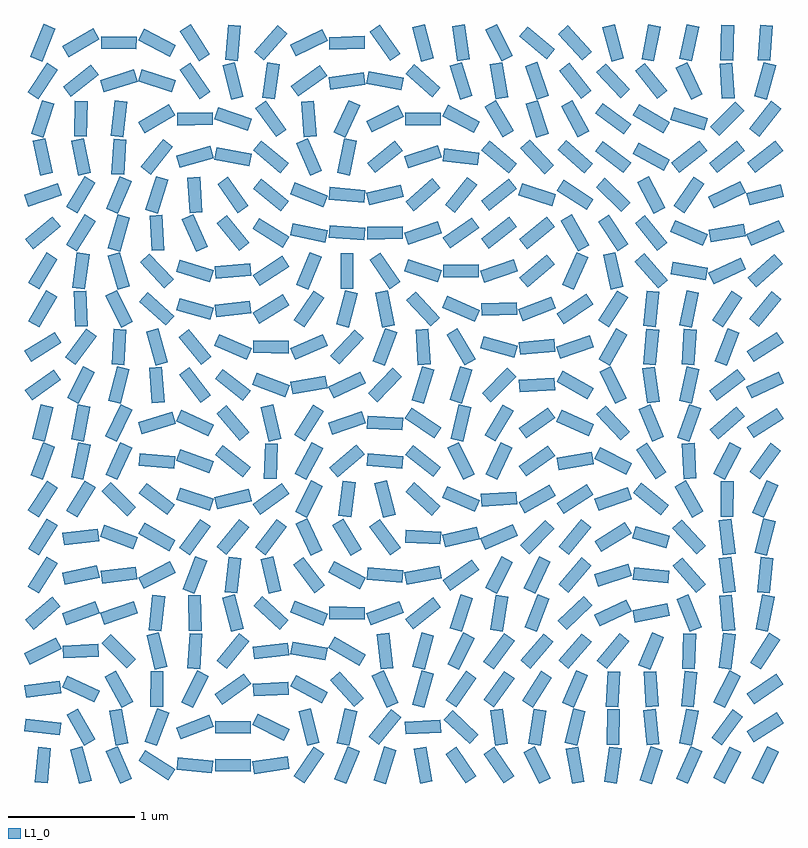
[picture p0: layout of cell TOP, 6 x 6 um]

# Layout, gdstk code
from math import pi, radians
import gdstk
lib = gdstk.Library(unit=1e-6, precision=1e-10)
def R(c, l, rs):  # rectangles x0, y0, x1, y1
    for r in rs: c.add(gdstk.rectangle(r[:2], r[2:], *l))
L1_0 = (1, 0)

atom = lib.new_cell('Atom')
R(atom, L1_0, [(-0.14,-0.05,0.14,0.05)])

top = lib.new_cell('TOP')
top.add(gdstk.Reference(atom, (0.15,0.15), rotation=radians(72.9007)))
top.add(gdstk.Reference(atom, (0.45,0.15), rotation=radians(72.4664)))
top.add(gdstk.Reference(atom, (0.75,0.15), rotation=radians(44.9532)))
top.add(gdstk.Reference(atom, (1.05,0.15), rotation=radians(3.5233)))
top.add(gdstk.Reference(atom, (1.35,0.15), rotation=radians(330.0113)))
top.add(gdstk.Reference(atom, (1.65,0.15), rotation=radians(296.1624)))
top.add(gdstk.Reference(atom, (1.95,0.15), rotation=radians(278.1701)))
top.add(gdstk.Reference(atom, (2.25,0.15), rotation=radians(77.5166)))
top.add(gdstk.Reference(atom, (2.55,0.15), rotation=radians(37.4882)))
top.add(gdstk.Reference(atom, (2.85,0.15), rotation=radians(24.3716)))
top.add(gdstk.Reference(atom, (0.15,0.45), rotation=radians(273.8419)))
top.add(gdstk.Reference(atom, (0.45,0.45), rotation=radians(300.5138)))
top.add(gdstk.Reference(atom, (0.75,0.45), rotation=radians(344.3116)))
top.add(gdstk.Reference(atom, (1.05,0.45), rotation=radians(5.4533)))
top.add(gdstk.Reference(atom, (1.35,0.45), rotation=radians(18.6406)))
top.add(gdstk.Reference(atom, (1.65,0.45), rotation=radians(60.0461)))
top.add(gdstk.Reference(atom, (1.95,0.45), rotation=radians(84.8528)))
top.add(gdstk.Reference(atom, (2.25,0.45), rotation=radians(86.43)))
top.add(gdstk.Reference(atom, (2.55,0.45), rotation=radians(69.1416)))
top.add(gdstk.Reference(atom, (2.85,0.45), rotation=radians(32.5081)))
top.add(gdstk.Reference(atom, (0.15,0.75), rotation=radians(313.0803)))
top.add(gdstk.Reference(atom, (0.45,0.75), rotation=radians(336.1501)))
top.add(gdstk.Reference(atom, (0.75,0.75), rotation=radians(1.8059)))
top.add(gdstk.Reference(atom, (1.05,0.75), rotation=radians(21.232)))
top.add(gdstk.Reference(atom, (1.35,0.75), rotation=radians(33.9489)))
top.add(gdstk.Reference(atom, (1.65,0.75), rotation=radians(57.309)))
top.add(gdstk.Reference(atom, (1.95,0.75), rotation=radians(84.4615)))
top.add(gdstk.Reference(atom, (2.25,0.75), rotation=radians(78.2265)))
top.add(gdstk.Reference(atom, (2.55,0.75), rotation=radians(56.8476)))
top.add(gdstk.Reference(atom, (2.85,0.75), rotation=radians(50.6504)))
top.add(gdstk.Reference(atom, (0.15,1.05), rotation=radians(341.9101)))
top.add(gdstk.Reference(atom, (0.45,1.05), rotation=radians(0.5162)))
top.add(gdstk.Reference(atom, (0.75,1.05), rotation=radians(19.0907)))
top.add(gdstk.Reference(atom, (1.05,1.05), rotation=radians(40.2758)))
top.add(gdstk.Reference(atom, (1.35,1.05), rotation=radians(65.995)))
top.add(gdstk.Reference(atom, (1.65,1.05), rotation=radians(282.4512)))
top.add(gdstk.Reference(atom, (1.95,1.05), rotation=radians(311.531)))
top.add(gdstk.Reference(atom, (2.25,1.05), rotation=radians(350.3575)))
top.add(gdstk.Reference(atom, (2.55,1.05), rotation=radians(24.9508)))
top.add(gdstk.Reference(atom, (2.85,1.05), rotation=radians(41.5816)))
top.add(gdstk.Reference(atom, (0.15,1.35), rotation=radians(19.3423)))
top.add(gdstk.Reference(atom, (0.45,1.35), rotation=radians(34.9826)))
top.add(gdstk.Reference(atom, (0.75,1.35), rotation=radians(38.0122)))
top.add(gdstk.Reference(atom, (1.05,1.35), rotation=radians(39.1704)))
top.add(gdstk.Reference(atom, (1.35,1.35), rotation=radians(299.4528)))
top.add(gdstk.Reference(atom, (1.65,1.35), rotation=radians(303.4985)))
top.add(gdstk.Reference(atom, (1.95,1.35), rotation=radians(308.9907)))
top.add(gdstk.Reference(atom, (2.25,1.35), rotation=radians(336.5651)))
top.add(gdstk.Reference(atom, (2.55,1.35), rotation=radians(9.9128)))
top.add(gdstk.Reference(atom, (2.85,1.35), rotation=radians(23.454)))
top.add(gdstk.Reference(atom, (0.15,1.65), rotation=radians(41.7021)))
top.add(gdstk.Reference(atom, (0.45,1.65), rotation=radians(51.4742)))
top.add(gdstk.Reference(atom, (0.75,1.65), rotation=radians(38.5689)))
top.add(gdstk.Reference(atom, (1.05,1.65), rotation=radians(342.0942)))
top.add(gdstk.Reference(atom, (1.35,1.65), rotation=radians(327.2701)))
top.add(gdstk.Reference(atom, (1.65,1.65), rotation=radians(315.6514)))
top.add(gdstk.Reference(atom, (1.95,1.65), rotation=radians(297.6931)))
top.add(gdstk.Reference(atom, (2.25,1.65), rotation=radians(55.7708)))
top.add(gdstk.Reference(atom, (2.55,1.65), rotation=radians(25.6771)))
top.add(gdstk.Reference(atom, (2.85,1.65), rotation=radians(14.4317)))
top.add(gdstk.Reference(atom, (0.15,1.95), rotation=radians(18.1711)))
top.add(gdstk.Reference(atom, (0.45,1.95), rotation=radians(353.0641)))
top.add(gdstk.Reference(atom, (0.75,1.95), rotation=radians(319.7183)))
top.add(gdstk.Reference(atom, (1.05,1.95), rotation=radians(313.2933)))
top.add(gdstk.Reference(atom, (1.35,1.95), rotation=radians(318.198)))
top.add(gdstk.Reference(atom, (1.65,1.95), rotation=radians(322.8595)))
top.add(gdstk.Reference(atom, (1.95,1.95), rotation=radians(331.1552)))
top.add(gdstk.Reference(atom, (2.25,1.95), rotation=radians(38.2216)))
top.add(gdstk.Reference(atom, (2.55,1.95), rotation=radians(39.1186)))
top.add(gdstk.Reference(atom, (2.85,1.95), rotation=radians(38.3245)))
top.add(gdstk.Reference(atom, (0.15,2.25), rotation=radians(359.8057)))
top.add(gdstk.Reference(atom, (0.45,2.25), rotation=radians(332.0322)))
top.add(gdstk.Reference(atom, (0.75,2.25), rotation=radians(300.3694)))
top.add(gdstk.Reference(atom, (1.05,2.25), rotation=radians(287.8215)))
top.add(gdstk.Reference(atom, (1.35,2.25), rotation=radians(298.2961)))
top.add(gdstk.Reference(atom, (1.65,2.25), rotation=radians(323.5479)))
top.add(gdstk.Reference(atom, (1.95,2.25), rotation=radians(329.4307)))
top.add(gdstk.Reference(atom, (2.25,2.25), rotation=radians(342.4433)))
top.add(gdstk.Reference(atom, (2.55,2.25), rotation=radians(44.8382)))
top.add(gdstk.Reference(atom, (2.85,2.25), rotation=radians(51.9568)))
top.add(gdstk.Reference(atom, (0.15,2.55), rotation=radians(318.2351)))
top.add(gdstk.Reference(atom, (0.45,2.55), rotation=radians(287.7106)))
top.add(gdstk.Reference(atom, (0.75,2.55), rotation=radians(279.6267)))
top.add(gdstk.Reference(atom, (1.05,2.55), rotation=radians(288.5452)))
top.add(gdstk.Reference(atom, (1.35,2.55), rotation=radians(308.0928)))
top.add(gdstk.Reference(atom, (1.65,2.55), rotation=radians(313.0303)))
top.add(gdstk.Reference(atom, (1.95,2.55), rotation=radians(308.8149)))
top.add(gdstk.Reference(atom, (2.25,2.55), rotation=radians(295.3078)))
top.add(gdstk.Reference(atom, (2.55,2.55), rotation=radians(273.56)))
top.add(gdstk.Reference(atom, (2.85,2.55), rotation=radians(74.3906)))
top.add(gdstk.Reference(atom, (0.15,2.85), rotation=radians(284.3412)))
top.add(gdstk.Reference(atom, (0.45,2.85), rotation=radians(278.7075)))
top.add(gdstk.Reference(atom, (0.75,2.85), rotation=radians(297.41)))
top.add(gdstk.Reference(atom, (1.05,2.85), rotation=radians(319.7779)))
top.add(gdstk.Reference(atom, (1.35,2.85), rotation=radians(312.6755)))
top.add(gdstk.Reference(atom, (1.65,2.85), rotation=radians(285.2547)))
top.add(gdstk.Reference(atom, (1.95,2.85), rotation=radians(78.8989)))
top.add(gdstk.Reference(atom, (2.25,2.85), rotation=radians(78.1317)))
top.add(gdstk.Reference(atom, (2.55,2.85), rotation=radians(88.4257)))
top.add(gdstk.Reference(atom, (2.85,2.85), rotation=radians(86.2554)))
top.add(gdstk.Reference(atom, (-2.85,1.65), rotation=radians(19.0705)))
top.add(gdstk.Reference(atom, (-2.55,1.65), rotation=radians(59.143)))
top.add(gdstk.Reference(atom, (-2.25,1.65), rotation=radians(66.962)))
top.add(gdstk.Reference(atom, (-1.95,1.65), rotation=radians(72.2871)))
top.add(gdstk.Reference(atom, (-1.65,1.65), rotation=radians(273.9307)))
top.add(gdstk.Reference(atom, (-1.35,1.65), rotation=radians(305.0678)))
top.add(gdstk.Reference(atom, (-1.05,1.65), rotation=radians(320.6871)))
top.add(gdstk.Reference(atom, (-0.75,1.65), rotation=radians(337.8102)))
top.add(gdstk.Reference(atom, (-0.45,1.65), rotation=radians(354.8051)))
top.add(gdstk.Reference(atom, (-0.15,1.65), rotation=radians(13.306)))
top.add(gdstk.Reference(atom, (-2.85,0.45), rotation=radians(31.8659)))
top.add(gdstk.Reference(atom, (-2.55,0.45), rotation=radians(53.4511)))
top.add(gdstk.Reference(atom, (-2.25,0.45), rotation=radians(86.6358)))
top.add(gdstk.Reference(atom, (-1.95,0.45), rotation=radians(285.6456)))
top.add(gdstk.Reference(atom, (-1.65,0.45), rotation=radians(309.1562)))
top.add(gdstk.Reference(atom, (-1.35,0.45), rotation=radians(336.1747)))
top.add(gdstk.Reference(atom, (-1.05,0.45), rotation=radians(358.9246)))
top.add(gdstk.Reference(atom, (-0.75,0.45), rotation=radians(22.8647)))
top.add(gdstk.Reference(atom, (-0.45,0.45), rotation=radians(46.6913)))
top.add(gdstk.Reference(atom, (-0.15,0.45), rotation=radians(70.005)))
top.add(gdstk.Reference(atom, (-2.85,1.95), rotation=radians(282.3696)))
top.add(gdstk.Reference(atom, (-2.55,1.95), rotation=radians(281.5205)))
top.add(gdstk.Reference(atom, (-2.25,1.95), rotation=radians(86.4845)))
top.add(gdstk.Reference(atom, (-1.95,1.95), rotation=radians(51.4162)))
top.add(gdstk.Reference(atom, (-1.65,1.95), rotation=radians(16.0458)))
top.add(gdstk.Reference(atom, (-1.35,1.95), rotation=radians(349.1495)))
top.add(gdstk.Reference(atom, (-1.05,1.95), rotation=radians(319.8982)))
top.add(gdstk.Reference(atom, (-0.75,1.95), rotation=radians(293.0752)))
top.add(gdstk.Reference(atom, (-0.45,1.95), rotation=radians(78.4554)))
top.add(gdstk.Reference(atom, (-0.15,1.95), rotation=radians(39.216)))
top.add(gdstk.Reference(atom, (-2.85,1.05), rotation=radians(58.9308)))
top.add(gdstk.Reference(atom, (-2.55,1.05), rotation=radians(82.2781)))
top.add(gdstk.Reference(atom, (-2.25,1.05), rotation=radians(286.369)))
top.add(gdstk.Reference(atom, (-1.95,1.05), rotation=radians(313.3971)))
top.add(gdstk.Reference(atom, (-1.65,1.05), rotation=radians(342.74)))
top.add(gdstk.Reference(atom, (-1.35,1.05), rotation=radians(4.7359)))
top.add(gdstk.Reference(atom, (-1.05,1.05), rotation=radians(33.2446)))
top.add(gdstk.Reference(atom, (-0.75,1.05), rotation=radians(67.905)))
top.add(gdstk.Reference(atom, (-0.45,1.05), rotation=radians(89.719)))
top.add(gdstk.Reference(atom, (-0.15,1.05), rotation=radians(304.8615)))
top.add(gdstk.Reference(atom, (-2.85,2.25), rotation=radians(72.1025)))
top.add(gdstk.Reference(atom, (-2.55,2.25), rotation=radians(88.6141)))
top.add(gdstk.Reference(atom, (-2.25,2.25), rotation=radians(83.4007)))
top.add(gdstk.Reference(atom, (-1.95,2.25), rotation=radians(30.5036)))
top.add(gdstk.Reference(atom, (-1.65,2.25), rotation=radians(1.2614)))
top.add(gdstk.Reference(atom, (-1.35,2.25), rotation=radians(340.9328)))
top.add(gdstk.Reference(atom, (-1.05,2.25), rotation=radians(305.8693)))
top.add(gdstk.Reference(atom, (-0.75,2.25), rotation=radians(274.306)))
top.add(gdstk.Reference(atom, (-0.45,2.25), rotation=radians(64.8415)))
top.add(gdstk.Reference(atom, (-0.15,2.25), rotation=radians(26.368)))
top.add(gdstk.Reference(atom, (-2.85,0.15), rotation=radians(35.6094)))
top.add(gdstk.Reference(atom, (-2.55,0.15), rotation=radians(63.0659)))
top.add(gdstk.Reference(atom, (-2.25,0.15), rotation=radians(75.563)))
top.add(gdstk.Reference(atom, (-1.95,0.15), rotation=radians(274.3042)))
top.add(gdstk.Reference(atom, (-1.65,0.15), rotation=radians(307.2277)))
top.add(gdstk.Reference(atom, (-1.35,0.15), rotation=radians(321.783)))
top.add(gdstk.Reference(atom, (-1.05,0.15), rotation=radians(339.5484)))
top.add(gdstk.Reference(atom, (-0.75,0.15), rotation=radians(9.9867)))
top.add(gdstk.Reference(atom, (-0.45,0.15), rotation=radians(25.1346)))
top.add(gdstk.Reference(atom, (-0.15,0.15), rotation=radians(45.3418)))
top.add(gdstk.Reference(atom, (-2.85,2.55), rotation=radians(56.6244)))
top.add(gdstk.Reference(atom, (-2.55,2.55), rotation=radians(38.2741)))
top.add(gdstk.Reference(atom, (-2.25,2.55), rotation=radians(17.5576)))
top.add(gdstk.Reference(atom, (-1.95,2.55), rotation=radians(342.2193)))
top.add(gdstk.Reference(atom, (-1.65,2.55), rotation=radians(304.0548)))
top.add(gdstk.Reference(atom, (-1.35,2.55), rotation=radians(283.8231)))
top.add(gdstk.Reference(atom, (-1.05,2.55), rotation=radians(81.9751)))
top.add(gdstk.Reference(atom, (-0.75,2.55), rotation=radians(35.8792)))
top.add(gdstk.Reference(atom, (-0.45,2.55), rotation=radians(7.9242)))
top.add(gdstk.Reference(atom, (-0.15,2.55), rotation=radians(349.6533)))
top.add(gdstk.Reference(atom, (-2.85,1.35), rotation=radians(39.6261)))
top.add(gdstk.Reference(atom, (-2.55,1.35), rotation=radians(58.3323)))
top.add(gdstk.Reference(atom, (-2.25,1.35), rotation=radians(74.386)))
top.add(gdstk.Reference(atom, (-1.95,1.35), rotation=radians(273.1827)))
top.add(gdstk.Reference(atom, (-1.65,1.35), rotation=radians(294.1271)))
top.add(gdstk.Reference(atom, (-1.35,1.35), rotation=radians(309.6179)))
top.add(gdstk.Reference(atom, (-1.05,1.35), rotation=radians(327.8101)))
top.add(gdstk.Reference(atom, (-0.75,1.35), rotation=radians(348.071)))
top.add(gdstk.Reference(atom, (-0.45,1.35), rotation=radians(355.9354)))
top.add(gdstk.Reference(atom, (-0.15,1.35), rotation=radians(1.2155)))
top.add(gdstk.Reference(atom, (-2.85,2.85), rotation=radians(67.8076)))
top.add(gdstk.Reference(atom, (-2.55,2.85), rotation=radians(30.1162)))
top.add(gdstk.Reference(atom, (-2.25,2.85), rotation=radians(358.8944)))
top.add(gdstk.Reference(atom, (-1.95,2.85), rotation=radians(332.1948)))
top.add(gdstk.Reference(atom, (-1.65,2.85), rotation=radians(302.8396)))
top.add(gdstk.Reference(atom, (-1.35,2.85), rotation=radians(85.1745)))
top.add(gdstk.Reference(atom, (-1.05,2.85), rotation=radians(48.3825)))
top.add(gdstk.Reference(atom, (-0.75,2.85), rotation=radians(25.5989)))
top.add(gdstk.Reference(atom, (-0.45,2.85), rotation=radians(1.8469)))
top.add(gdstk.Reference(atom, (-0.15,2.85), rotation=radians(305.0919)))
top.add(gdstk.Reference(atom, (-2.85,0.75), rotation=radians(59.9555)))
top.add(gdstk.Reference(atom, (-2.55,0.75), rotation=radians(272.3393)))
top.add(gdstk.Reference(atom, (-2.25,0.75), rotation=radians(296.7348)))
top.add(gdstk.Reference(atom, (-1.95,0.75), rotation=radians(318.3563)))
top.add(gdstk.Reference(atom, (-1.65,0.75), rotation=radians(344.4489)))
top.add(gdstk.Reference(atom, (-1.35,0.75), rotation=radians(6.3571)))
top.add(gdstk.Reference(atom, (-1.05,0.75), rotation=radians(31.3004)))
top.add(gdstk.Reference(atom, (-0.75,0.75), rotation=radians(56.1858)))
top.add(gdstk.Reference(atom, (-0.45,0.75), rotation=radians(75.1603)))
top.add(gdstk.Reference(atom, (-0.15,0.75), rotation=radians(281.2455)))
top.add(gdstk.Reference(atom, (-2.85,-2.85), rotation=radians(84.6878)))
top.add(gdstk.Reference(atom, (-2.55,-2.85), rotation=radians(284.8787)))
top.add(gdstk.Reference(atom, (-2.25,-2.85), rotation=radians(293.7476)))
top.add(gdstk.Reference(atom, (-1.95,-2.85), rotation=radians(327.2313)))
top.add(gdstk.Reference(atom, (-1.65,-2.85), rotation=radians(354.6114)))
top.add(gdstk.Reference(atom, (-1.35,-2.85), rotation=radians(359.1399)))
top.add(gdstk.Reference(atom, (-1.05,-2.85), rotation=radians(8.3701)))
top.add(gdstk.Reference(atom, (-0.75,-2.85), rotation=radians(56.1804)))
top.add(gdstk.Reference(atom, (-0.45,-2.85), rotation=radians(67.4992)))
top.add(gdstk.Reference(atom, (-0.15,-2.85), rotation=radians(72.7461)))
top.add(gdstk.Reference(atom, (-2.85,-2.55), rotation=radians(353.3771)))
top.add(gdstk.Reference(atom, (-2.55,-2.55), rotation=radians(299.6933)))
top.add(gdstk.Reference(atom, (-2.25,-2.55), rotation=radians(280.3861)))
top.add(gdstk.Reference(atom, (-1.95,-2.55), rotation=radians(69.2499)))
top.add(gdstk.Reference(atom, (-1.65,-2.55), rotation=radians(21.0464)))
top.add(gdstk.Reference(atom, (-1.35,-2.55), rotation=radians(359.3163)))
top.add(gdstk.Reference(atom, (-1.05,-2.55), rotation=radians(333.3358)))
top.add(gdstk.Reference(atom, (-0.75,-2.55), rotation=radians(284.0404)))
top.add(gdstk.Reference(atom, (-0.45,-2.55), rotation=radians(77.1668)))
top.add(gdstk.Reference(atom, (-0.15,-2.55), rotation=radians(50.8856)))
top.add(gdstk.Reference(atom, (-2.85,-2.25), rotation=radians(7.3731)))
top.add(gdstk.Reference(atom, (-2.55,-2.25), rotation=radians(335.1016)))
top.add(gdstk.Reference(atom, (-2.25,-2.25), rotation=radians(298.9774)))
top.add(gdstk.Reference(atom, (-1.95,-2.25), rotation=radians(89.5005)))
top.add(gdstk.Reference(atom, (-1.65,-2.25), rotation=radians(63.0299)))
top.add(gdstk.Reference(atom, (-1.35,-2.25), rotation=radians(35.8782)))
top.add(gdstk.Reference(atom, (-1.05,-2.25), rotation=radians(2.879)))
top.add(gdstk.Reference(atom, (-0.75,-2.25), rotation=radians(331.5787)))
top.add(gdstk.Reference(atom, (-0.45,-2.25), rotation=radians(311.8609)))
top.add(gdstk.Reference(atom, (-0.15,-2.25), rotation=radians(294.1935)))
top.add(gdstk.Reference(atom, (-2.85,-1.95), rotation=radians(26.5438)))
top.add(gdstk.Reference(atom, (-2.55,-1.95), rotation=radians(3.0054)))
top.add(gdstk.Reference(atom, (-2.25,-1.95), rotation=radians(314.971)))
top.add(gdstk.Reference(atom, (-1.95,-1.95), rotation=radians(283.4814)))
top.add(gdstk.Reference(atom, (-1.65,-1.95), rotation=radians(86.2469)))
top.add(gdstk.Reference(atom, (-1.35,-1.95), rotation=radians(50.8982)))
top.add(gdstk.Reference(atom, (-1.05,-1.95), rotation=radians(6.5526)))
top.add(gdstk.Reference(atom, (-0.75,-1.95), rotation=radians(349.957)))
top.add(gdstk.Reference(atom, (-0.45,-1.95), rotation=radians(329.7562)))
top.add(gdstk.Reference(atom, (-0.15,-1.95), rotation=radians(276.3979)))
top.add(gdstk.Reference(atom, (-2.85,-1.65), rotation=radians(40.9216)))
top.add(gdstk.Reference(atom, (-2.55,-1.65), rotation=radians(19.7049)))
top.add(gdstk.Reference(atom, (-2.25,-1.65), rotation=radians(18.8901)))
top.add(gdstk.Reference(atom, (-1.95,-1.65), rotation=radians(83.8842)))
top.add(gdstk.Reference(atom, (-1.65,-1.65), rotation=radians(271.1127)))
top.add(gdstk.Reference(atom, (-1.35,-1.65), rotation=radians(284.5254)))
top.add(gdstk.Reference(atom, (-1.05,-1.65), rotation=radians(317.8577)))
top.add(gdstk.Reference(atom, (-0.75,-1.65), rotation=radians(337.9799)))
top.add(gdstk.Reference(atom, (-0.45,-1.65), rotation=radians(358.8407)))
top.add(gdstk.Reference(atom, (-0.15,-1.65), rotation=radians(20.2456)))
top.add(gdstk.Reference(atom, (-2.85,-1.35), rotation=radians(57.6508)))
top.add(gdstk.Reference(atom, (-2.55,-1.35), rotation=radians(11.8097)))
top.add(gdstk.Reference(atom, (-2.25,-1.35), rotation=radians(6.8946)))
top.add(gdstk.Reference(atom, (-1.95,-1.35), rotation=radians(27.0994)))
top.add(gdstk.Reference(atom, (-1.65,-1.35), rotation=radians(68.6145)))
top.add(gdstk.Reference(atom, (-1.35,-1.35), rotation=radians(83.5548)))
top.add(gdstk.Reference(atom, (-1.05,-1.35), rotation=radians(283.2762)))
top.add(gdstk.Reference(atom, (-0.75,-1.35), rotation=radians(307.0402)))
top.add(gdstk.Reference(atom, (-0.45,-1.35), rotation=radians(331.7702)))
top.add(gdstk.Reference(atom, (-0.15,-1.35), rotation=radians(355.0198)))
top.add(gdstk.Reference(atom, (-2.85,-1.05), rotation=radians(58.3521)))
top.add(gdstk.Reference(atom, (-2.55,-1.05), rotation=radians(6.8782)))
top.add(gdstk.Reference(atom, (-2.25,-1.05), rotation=radians(339.5316)))
top.add(gdstk.Reference(atom, (-1.95,-1.05), rotation=radians(330.7897)))
top.add(gdstk.Reference(atom, (-1.65,-1.05), rotation=radians(53.7732)))
top.add(gdstk.Reference(atom, (-1.35,-1.05), rotation=radians(50.3698)))
top.add(gdstk.Reference(atom, (-1.05,-1.05), rotation=radians(52.958)))
top.add(gdstk.Reference(atom, (-0.75,-1.05), rotation=radians(294.92)))
top.add(gdstk.Reference(atom, (-0.45,-1.05), rotation=radians(300.9641)))
top.add(gdstk.Reference(atom, (-0.15,-1.05), rotation=radians(306.5765)))
top.add(gdstk.Reference(atom, (-2.85,-0.75), rotation=radians(57.0734)))
top.add(gdstk.Reference(atom, (-2.55,-0.75), rotation=radians(58.6372)))
top.add(gdstk.Reference(atom, (-2.25,-0.75), rotation=radians(315.2097)))
top.add(gdstk.Reference(atom, (-1.95,-0.75), rotation=radians(322.1639)))
top.add(gdstk.Reference(atom, (-1.65,-0.75), rotation=radians(341.9964)))
top.add(gdstk.Reference(atom, (-1.35,-0.75), rotation=radians(13.5563)))
top.add(gdstk.Reference(atom, (-1.05,-0.75), rotation=radians(36.1583)))
top.add(gdstk.Reference(atom, (-0.75,-0.75), rotation=radians(62.8395)))
top.add(gdstk.Reference(atom, (-0.45,-0.75), rotation=radians(82.737)))
top.add(gdstk.Reference(atom, (-0.15,-0.75), rotation=radians(284.5075)))
top.add(gdstk.Reference(atom, (-2.85,-0.45), rotation=radians(69.6753)))
top.add(gdstk.Reference(atom, (-2.55,-0.45), rotation=radians(78.1153)))
top.add(gdstk.Reference(atom, (-2.25,-0.45), rotation=radians(65.4815)))
top.add(gdstk.Reference(atom, (-1.95,-0.45), rotation=radians(355.3393)))
top.add(gdstk.Reference(atom, (-1.65,-0.45), rotation=radians(340.1129)))
top.add(gdstk.Reference(atom, (-1.35,-0.45), rotation=radians(321.5663)))
top.add(gdstk.Reference(atom, (-1.05,-0.45), rotation=radians(87.9845)))
top.add(gdstk.Reference(atom, (-0.75,-0.45), rotation=radians(61.5313)))
top.add(gdstk.Reference(atom, (-0.45,-0.45), rotation=radians(41.0275)))
top.add(gdstk.Reference(atom, (-0.15,-0.45), rotation=radians(354.6124)))
top.add(gdstk.Reference(atom, (-2.85,-0.15), rotation=radians(76.1448)))
top.add(gdstk.Reference(atom, (-2.55,-0.15), rotation=radians(79.6473)))
top.add(gdstk.Reference(atom, (-2.25,-0.15), rotation=radians(63.9025)))
top.add(gdstk.Reference(atom, (-1.95,-0.15), rotation=radians(16.631)))
top.add(gdstk.Reference(atom, (-1.65,-0.15), rotation=radians(335.103)))
top.add(gdstk.Reference(atom, (-1.35,-0.15), rotation=radians(310.6977)))
top.add(gdstk.Reference(atom, (-1.05,-0.15), rotation=radians(282.8352)))
top.add(gdstk.Reference(atom, (-0.75,-0.15), rotation=radians(57.3234)))
top.add(gdstk.Reference(atom, (-0.45,-0.15), rotation=radians(18.9356)))
top.add(gdstk.Reference(atom, (-0.15,-0.15), rotation=radians(357.3053)))
top.add(gdstk.Reference(atom, (0.15,-2.25), rotation=radians(74.6157)))
top.add(gdstk.Reference(atom, (0.45,-2.25), rotation=radians(54.9657)))
top.add(gdstk.Reference(atom, (0.75,-2.25), rotation=radians(54.3307)))
top.add(gdstk.Reference(atom, (1.05,-2.25), rotation=radians(57.6419)))
top.add(gdstk.Reference(atom, (1.35,-2.25), rotation=radians(66.7806)))
top.add(gdstk.Reference(atom, (1.65,-2.25), rotation=radians(86.8878)))
top.add(gdstk.Reference(atom, (1.95,-2.25), rotation=radians(273.3658)))
top.add(gdstk.Reference(atom, (2.25,-2.25), rotation=radians(84.4483)))
top.add(gdstk.Reference(atom, (2.55,-2.25), rotation=radians(63.0471)))
top.add(gdstk.Reference(atom, (2.85,-2.25), rotation=radians(34.4728)))
top.add(gdstk.Reference(atom, (0.15,-1.35), rotation=radians(10.7087)))
top.add(gdstk.Reference(atom, (0.45,-1.35), rotation=radians(35.7931)))
top.add(gdstk.Reference(atom, (0.75,-1.35), rotation=radians(62.7262)))
top.add(gdstk.Reference(atom, (1.05,-1.35), rotation=radians(64.3051)))
top.add(gdstk.Reference(atom, (1.35,-1.35), rotation=radians(49.3801)))
top.add(gdstk.Reference(atom, (1.65,-1.35), rotation=radians(17.7874)))
top.add(gdstk.Reference(atom, (1.95,-1.35), rotation=radians(354.2734)))
top.add(gdstk.Reference(atom, (2.25,-1.35), rotation=radians(311.0289)))
top.add(gdstk.Reference(atom, (2.55,-1.35), rotation=radians(276.9155)))
top.add(gdstk.Reference(atom, (2.85,-1.35), rotation=radians(83.8865)))
top.add(gdstk.Reference(atom, (0.15,-2.55), rotation=radians(2.8621)))
top.add(gdstk.Reference(atom, (0.45,-2.55), rotation=radians(316.5945)))
top.add(gdstk.Reference(atom, (0.75,-2.55), rotation=radians(278.0301)))
top.add(gdstk.Reference(atom, (1.05,-2.55), rotation=radians(81.2127)))
top.add(gdstk.Reference(atom, (1.35,-2.55), rotation=radians(76.4224)))
top.add(gdstk.Reference(atom, (1.65,-2.55), rotation=radians(89.3065)))
top.add(gdstk.Reference(atom, (1.95,-2.55), rotation=radians(275.6155)))
top.add(gdstk.Reference(atom, (2.25,-2.55), rotation=radians(78.7186)))
top.add(gdstk.Reference(atom, (2.55,-2.55), rotation=radians(53.4558)))
top.add(gdstk.Reference(atom, (2.85,-2.55), rotation=radians(32.3353)))
top.add(gdstk.Reference(atom, (0.15,-1.05), rotation=radians(357.498)))
top.add(gdstk.Reference(atom, (0.45,-1.05), rotation=radians(12.8817)))
top.add(gdstk.Reference(atom, (0.75,-1.05), rotation=radians(23.6856)))
top.add(gdstk.Reference(atom, (1.05,-1.05), rotation=radians(45.2087)))
top.add(gdstk.Reference(atom, (1.35,-1.05), rotation=radians(50.6519)))
top.add(gdstk.Reference(atom, (1.65,-1.05), rotation=radians(31.8809)))
top.add(gdstk.Reference(atom, (1.95,-1.05), rotation=radians(344.0002)))
top.add(gdstk.Reference(atom, (2.25,-1.05), rotation=radians(312.8029)))
top.add(gdstk.Reference(atom, (2.55,-1.05), rotation=radians(276.7756)))
top.add(gdstk.Reference(atom, (2.85,-1.05), rotation=radians(75.7459)))
top.add(gdstk.Reference(atom, (0.15,-1.95), rotation=radians(74.9916)))
top.add(gdstk.Reference(atom, (0.45,-1.95), rotation=radians(63.6924)))
top.add(gdstk.Reference(atom, (0.75,-1.95), rotation=radians(53.8748)))
top.add(gdstk.Reference(atom, (1.05,-1.95), rotation=radians(49.432)))
top.add(gdstk.Reference(atom, (1.35,-1.95), rotation=radians(48.9537)))
top.add(gdstk.Reference(atom, (1.65,-1.95), rotation=radians(50.5553)))
top.add(gdstk.Reference(atom, (1.95,-1.95), rotation=radians(67.3592)))
top.add(gdstk.Reference(atom, (2.25,-1.95), rotation=radians(87.9334)))
top.add(gdstk.Reference(atom, (2.55,-1.95), rotation=radians(82.402)))
top.add(gdstk.Reference(atom, (2.85,-1.95), rotation=radians(57.3276)))
top.add(gdstk.Reference(atom, (0.15,-0.75), rotation=radians(317.3692)))
top.add(gdstk.Reference(atom, (0.45,-0.75), rotation=radians(336.4266)))
top.add(gdstk.Reference(atom, (0.75,-0.75), rotation=radians(3.7558)))
top.add(gdstk.Reference(atom, (1.05,-0.75), rotation=radians(29.6045)))
top.add(gdstk.Reference(atom, (1.35,-0.75), rotation=radians(32.6916)))
top.add(gdstk.Reference(atom, (1.65,-0.75), rotation=radians(19.4559)))
top.add(gdstk.Reference(atom, (1.95,-0.75), rotation=radians(320.501)))
top.add(gdstk.Reference(atom, (2.25,-0.75), rotation=radians(299.4157)))
top.add(gdstk.Reference(atom, (2.55,-0.75), rotation=radians(89.9254)))
top.add(gdstk.Reference(atom, (2.85,-0.75), rotation=radians(66.0141)))
top.add(gdstk.Reference(atom, (0.15,-2.85), rotation=radians(280.4092)))
top.add(gdstk.Reference(atom, (0.45,-2.85), rotation=radians(304.599)))
top.add(gdstk.Reference(atom, (0.75,-2.85), rotation=radians(304.1314)))
top.add(gdstk.Reference(atom, (1.05,-2.85), rotation=radians(296.1651)))
top.add(gdstk.Reference(atom, (1.35,-2.85), rotation=radians(280.2249)))
top.add(gdstk.Reference(atom, (1.65,-2.85), rotation=radians(82.2032)))
top.add(gdstk.Reference(atom, (1.95,-2.85), rotation=radians(72.146)))
top.add(gdstk.Reference(atom, (2.25,-2.85), rotation=radians(66.2623)))
top.add(gdstk.Reference(atom, (2.55,-2.85), rotation=radians(62.3799)))
top.add(gdstk.Reference(atom, (2.85,-2.85), rotation=radians(64.2831)))
top.add(gdstk.Reference(atom, (0.15,-0.45), rotation=radians(321.6696)))
top.add(gdstk.Reference(atom, (0.45,-0.45), rotation=radians(296.4064)))
top.add(gdstk.Reference(atom, (0.75,-0.45), rotation=radians(64.9062)))
top.add(gdstk.Reference(atom, (1.05,-0.45), rotation=radians(35.1911)))
top.add(gdstk.Reference(atom, (1.35,-0.45), rotation=radians(9.8501)))
top.add(gdstk.Reference(atom, (1.65,-0.45), rotation=radians(333.2886)))
top.add(gdstk.Reference(atom, (1.95,-0.45), rotation=radians(303.1449)))
top.add(gdstk.Reference(atom, (2.25,-0.45), rotation=radians(272.7691)))
top.add(gdstk.Reference(atom, (2.55,-0.45), rotation=radians(62.2466)))
top.add(gdstk.Reference(atom, (2.85,-0.45), rotation=radians(53.4653)))
top.add(gdstk.Reference(atom, (0.15,-1.65), rotation=radians(38.2244)))
top.add(gdstk.Reference(atom, (0.45,-1.65), rotation=radians(71.9848)))
top.add(gdstk.Reference(atom, (0.75,-1.65), rotation=radians(81.0394)))
top.add(gdstk.Reference(atom, (1.05,-1.65), rotation=radians(69.0785)))
top.add(gdstk.Reference(atom, (1.35,-1.65), rotation=radians(43.5655)))
top.add(gdstk.Reference(atom, (1.65,-1.65), rotation=radians(25.1352)))
top.add(gdstk.Reference(atom, (1.95,-1.65), rotation=radians(11.0798)))
top.add(gdstk.Reference(atom, (2.25,-1.65), rotation=radians(291.9544)))
top.add(gdstk.Reference(atom, (2.55,-1.65), rotation=radians(275.1395)))
top.add(gdstk.Reference(atom, (2.85,-1.65), rotation=radians(78.7211)))
top.add(gdstk.Reference(atom, (0.15,-0.15), rotation=radians(326.4212)))
top.add(gdstk.Reference(atom, (0.45,-0.15), rotation=radians(77.3954)))
top.add(gdstk.Reference(atom, (0.75,-0.15), rotation=radians(59.2996)))
top.add(gdstk.Reference(atom, (1.05,-0.15), rotation=radians(35.6631)))
top.add(gdstk.Reference(atom, (1.35,-0.15), rotation=radians(335.8029)))
top.add(gdstk.Reference(atom, (1.65,-0.15), rotation=radians(312.9024)))
top.add(gdstk.Reference(atom, (1.95,-0.15), rotation=radians(292.4574)))
top.add(gdstk.Reference(atom, (2.25,-0.15), rotation=radians(70.0863)))
top.add(gdstk.Reference(atom, (2.55,-0.15), rotation=radians(41.4461)))
top.add(gdstk.Reference(atom, (2.85,-0.15), rotation=radians(32.5102)))

lib.write_gds('TOP.gds')
